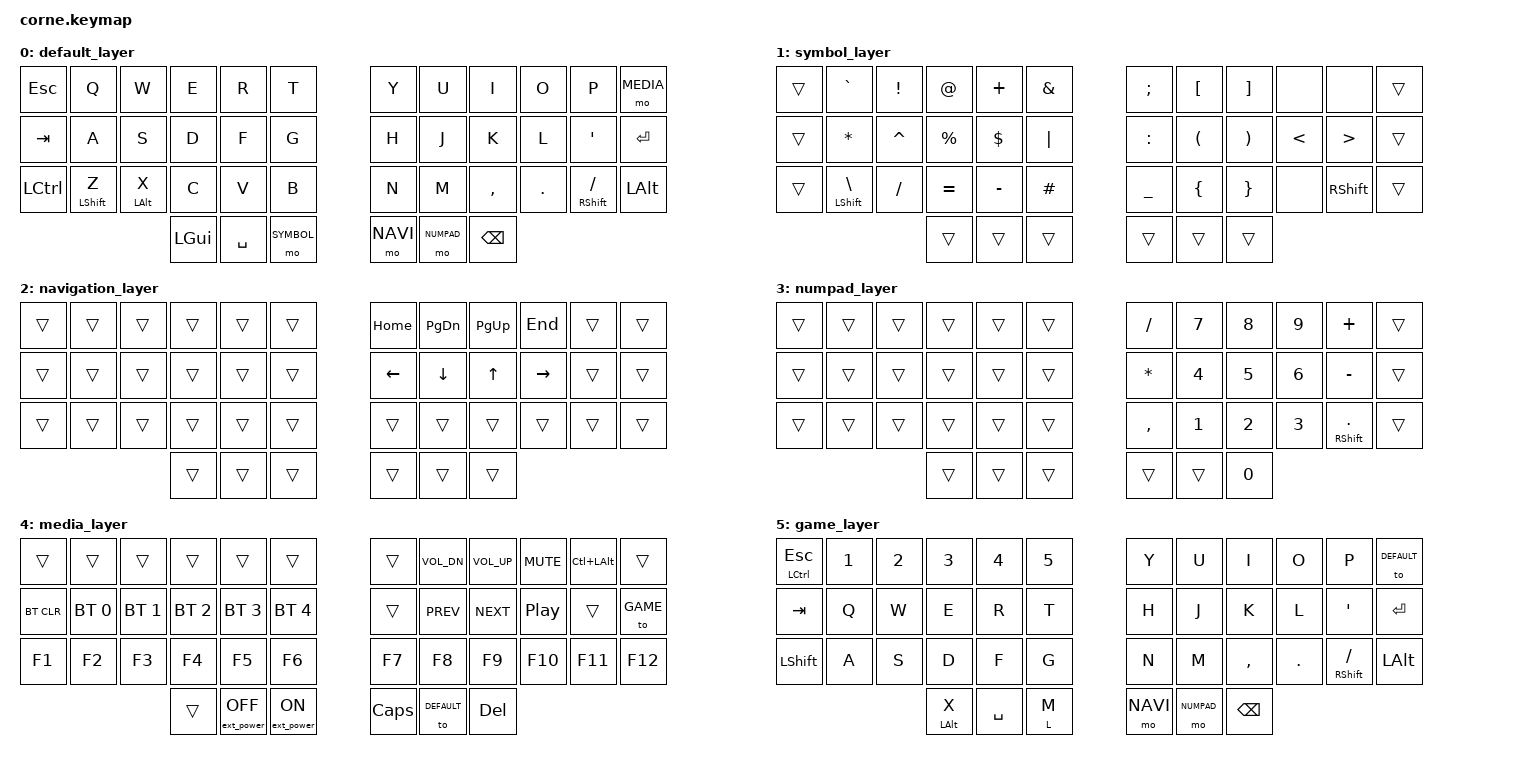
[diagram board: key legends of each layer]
/*
 * Copyright (c) 2020 The ZMK Contributors
 *
 * SPDX-License-Identifier: MIT
 */

#include <behaviors.dtsi>
#include <dt-bindings/zmk/keys.h>
#include <dt-bindings/zmk/bt.h>
#include <dt-bindings/zmk/ext_power.h>

#define DEFAULT 0
#define NAVI    2
#define SYMBOL  1
#define NUMPAD  3
#define MEDIA   4
#define GAME   5

#define MO_TOG(layer) &mo_tog layer layer

/ {
        behaviors {
                mo_tog: behavior_mo_tog {
                       compatible = "zmk,behavior-hold-tap";
                       label = "mo_tog";
                       #binding-cells = <2>;
                       flavor = "hold-preferred";
                       tapping-term-ms = <200>;
                       bindings = <&mo>, <&tog>;
                };
        };

        keymap {
                compatible = "zmk,keymap";

                default_layer {
// -----------------------------------------------------------------------------------------
// |  ESC |  Q  |  W  |  E  |  R  |  T  |   |  Y  |  U   |  I  |  O  |  P  | none |
// | TAB |  A  |  S  |  D  |  F  |  G  |   |  H  |  J   |  K  |  L  |  '  | ENT  |
// | SHFT |  Z  |  X  |  C  |  V  |  B  |   |  N  |  M   |  ,  |  .  |  /  | none  |
//                    | ALT | GUI | SPC |   | BSPC | RSE  | LOW |
                        bindings = <
   &kp ESC   &kp Q &kp W &kp E &kp R &kp T       &kp Y &kp U  &kp I     &kp O   &kp P    &mo MEDIA
   &kp TAB &kp A &kp S &kp D &kp F &kp G   &kp H &kp J  &kp K     &kp L   &kp SQT &kp RET
   &kp LCTRL &mt LSHFT Z &mt LALT X &kp C &kp V &kp B   &kp N &kp M  &kp COMMA &kp DOT &mt RSHFT FSLH &kp LALT
                  &kp LGUI &kp SPACE &mo SYMBOL   &mo NAVI &mo NUMPAD &kp BSPC
                        >;
                };


                symbol_layer {
// -----------------------------------------------------------------------------------------
// |  TAB |  !  |  @  |  #  |  $  |  %  |   |  ^  |  &  |  *  |  (  |  )  | BKSP |
// | CTRL |     |     |     |     |     |   |  -  |  =  |  [  |  ]  |  \  |  `   |
// | SHFT |     |     |     |     |     |   |  _  |  +  |  {  |  }  | "|" |  ~   |
//                    | GUI |     | SPC |   | ENT |     | ALT |
                        bindings = <
   &trans &kp GRAVE  &kp EXCL  &kp AT    &kp PLUS  &kp AMPS      &kp SEMI  &kp LBKT  &kp RBKT  &none &none &trans
   &trans &kp ASTRK  &kp CARET &kp PRCNT &kp DLLR  &kp PIPE      &kp COLON &kp LPAR  &kp RPAR  &kp LT &kp GT &trans
   &trans &mt LSHFT BSLH   &kp SLASH &kp EQUAL &kp MINUS &kp HASH      &kp UNDER &kp LBRC  &kp RBRC  &none &kp RSHFT &trans
                             &trans   &trans   &trans            &trans   &trans    &trans
                        >;
                };

                navigation_layer {
// -----------------------------------------------------------------------------------------
// |     |  1  |  2  |  3  |  4  |  5  |   |  6  |  7  |  8  |  9  |  0  | BKSP |
// |     | BT1 | BT2 | BT3 | BT4 | BT5 |   | LFT | DWN |  UP | RGT |     |      |
// |     |     |     |     |     |     |   |     |     |     |     |     |      |
//                    |     | ALT |     |   |     |     |     |
                        bindings = <
   &trans    &trans    &trans    &trans   &trans   &trans         &kp HOME &kp PG_DN &kp PG_UP &kp END    &trans &trans
   &trans    &trans    &trans    &trans   &trans   &trans         &kp LEFT &kp DOWN  &kp UP    &kp RIGHT  &trans &trans
   &trans    &trans    &trans    &trans   &trans   &trans         &trans   &trans   &trans &trans    &trans   &trans
                              &trans &trans       &trans      &trans  &trans   &trans
                        >;
                };

                numpad_layer {
// -----------------------------------------------------------------------------------------
// |     |  1  |  2  |  3  |  4  |  5  |   |  6  |  7  |  8  |  9  |  0  | BKSP |
// |     | BT1 | BT2 | BT3 | BT4 | BT5 |   | LFT | DWN |  UP | RGT |     |      |
// |     |     |     |     |     |     |   |     |     |     |     |     |      |
//                    |     | ALT |     |   |     |     |     |
                        bindings = <
   &trans  &trans  &trans  &trans  &trans  &trans         &kp SLASH  &kp N7  &kp N8  &kp N9  &kp PLUS  &trans
   &trans  &trans  &trans  &trans  &trans  &trans         &kp ASTRK  &kp N4  &kp N5  &kp N6  &kp MINUS &trans
   &trans  &trans  &trans  &trans  &trans  &trans         &kp COMMA  &kp N1  &kp N2  &kp N3  &mt RSHFT DOT   &trans
                      &trans     &trans   &trans          &trans     &trans  &kp N0
                        >;
                };

                media_layer {
// -----------------------------------------------------------------------------------------
// |     |  1  |  2  |  3  |  4  |  5  |   |  6  |  7  |  8  |  9  |  0  | BKSP |
// |     | BT1 | BT2 | BT3 | BT4 | BT5 |   | LFT | DWN |  UP | RGT |     |      |
// |     |     |     |     |     |     |   |     |     |     |     |     |      |
//                    |     | ALT |     |   |     |     |     |
                        bindings = <
   &trans  &trans  &trans  &trans  &trans  &trans                                          &trans  &kp C_VOL_DN  &kp C_VOL_UP  &kp C_MUTE  &kp LC(LALT)  &trans
   &bt BT_CLR  &bt BT_SEL 0 &bt BT_SEL 1 &bt BT_SEL 2 &bt BT_SEL 3 &bt BT_SEL 4            &trans &kp C_PREV &kp C_NEXT &kp C_PLAY_PAUSE &trans &to GAME
   &kp F1    &kp F2    &kp F3    &kp F4   &kp F5   &kp F6                                  &kp F7   &kp F8   &kp F9 &kp F10   &kp F11  &kp F12
                    &trans     &ext_power EP_OFF      &ext_power EP_ON                     &kp CAPS  &to DEFAULT   &kp DEL
                        >;
                };

                game_layer {
                        bindings = <
   &mt LCTRL ESC &kp N1 &kp N2 &kp N3 &kp N4 &kp N5       &kp Y &kp U  &kp I     &kp O   &kp P    &to DEFAULT
   &kp TAB &kp Q &kp W &kp E &kp R &kp T   &kp H &kp J  &kp K     &kp L   &kp SQT &kp RET
   &kp LSHFT &kp A &kp S &kp D &kp F &kp G   &kp N &kp M  &kp COMMA &kp DOT &mt RSHFT FSLH &kp LALT
                  &mt LALT X &kp SPACE &mt L M   &mo NAVI &mo NUMPAD &kp BSPC
                        >;
                };
        };
};
